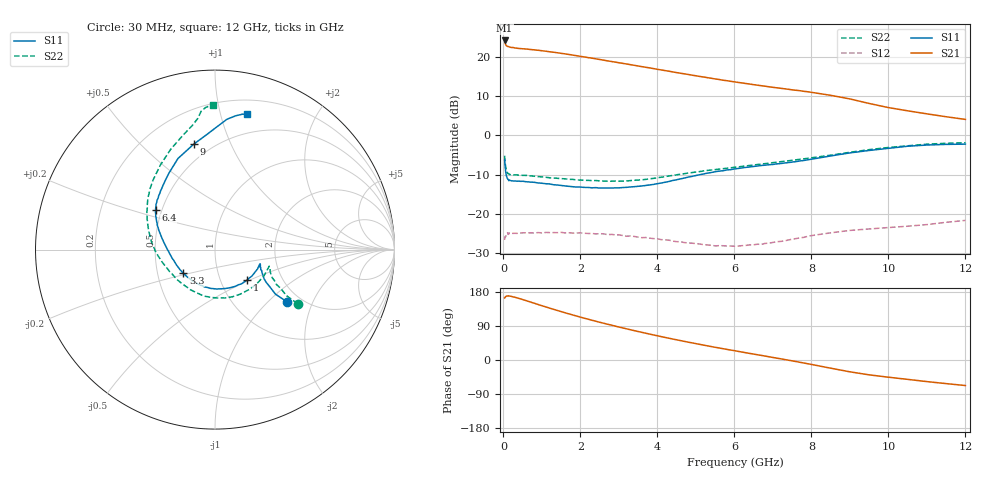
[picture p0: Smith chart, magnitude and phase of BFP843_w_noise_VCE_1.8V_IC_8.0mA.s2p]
! Infineon Technologies  Discrete & RF Semiconductors
! BFP843
! VCE =  1.8 V,  IC =  8.0 mA
! Common Emitter S-Parameters:  Aug 2013
# GHz  S  MA  R  50
!  f  S11  S21  S12  S22
! GHz  MAG  ANG  MAG  ANG  MAG  ANG  MAG  ANG
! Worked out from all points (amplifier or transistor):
!   103 points, 30 MHz to 12 GHz, reference 50 ohm
!   highest |S21| = 24.2 dB at 30 MHz (marker M1)
!   |S21| within 3 dB of that: start of sweep to 1.297 GHz
!   unconditionally stable (mu >= 1): 168.1 MHz to 10.92 GHz
!   at 400 MHz: K = 1.01, MAG = 22.8 dB, |S12| = -24.9 dB
!   at 3.7 GHz: K = 1.31, MAG = 18.4 dB, |S12| = -26.0 dB
!   at 12 GHz: K = 0.83, MSG = 12.9 dB, |S12| = -21.7 dB
!   lowest NFmin = 0.91 dB at 450 MHz
!   S11 on the Smith chart (normalised r, x): 30 MHz: 1.70, -1.31; 1 GHz: 1.33, -0.48; 3.3 GHz: 0.68, -0.19; 6.4 GHz: 0.46, +0.24; 9 GHz: 0.40, +0.74; 12 GHz: 0.32, +1.21
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0.03  0.4939 -36.0  16.25 163.6  0.0467 31.6  0.551 -33.2
0.04  0.4183 -36.4  15.26 164.5  0.0515 23.4  0.4724 -32.8
0.05  0.3741 -34.4  14.71 166.8  0.051 22.6  0.4248 -30.5
0.07  0.3181 -30.7  14.03 168.1  0.0535 14.8  0.3731 -27.5
0.13  0.274 -21.6  13.57 169.3  0.056 6.5  0.3257 -19.7
0.3  0.263 -18.2  13.02 165.5  0.0566 4.7  0.3145 -18.2
0.6  0.2569 -27.9  12.62 156.3  0.0575 0.7  0.3097 -28.2
1  0.2459 -44.0  12.01 143.2  0.0572 -2.7  0.2961 -44.7
1.3  0.2352 -56.6  11.5 133.7  0.0578 -4.6  0.2871 -57.5
1.6  0.2274 -70.0  10.96 124.6  0.0572 -6.0  0.2801 -70.2
2.1  0.2177 -92.4  10.01 110.3  0.0567 -9.9  0.2679 -90.9
2.7  0.2134 -118.1  8.936 94.5  0.0544 -13.1  0.2614 -114.4
3.3  0.2204 -143.2  7.983 79.8  0.0524 -16.6  0.2659 -137.1
4.1  0.2477 -171.7  6.837 61.7  0.047 -18.3  0.2937 -162.6
5  0.3085 166.2  5.761 43.2  0.0419 -16.2  0.3418 177.7
6.1  0.3795 150.5  4.738 22.7  0.0389 -6.2  0.3973 160.1
6.4  0.3969 146.6  4.516 17.3  0.0403 -2.7  0.4149 155.8
7.7  0.473 126.0  3.718 -6.0  0.0495 5.5  0.4973 136.6
8.5  0.548 112.1  3.248 -21.6  0.0574 3.5  0.5607 122.9
9  0.5992 101.4  2.921 -31.2  0.0616 0.8  0.6105 113.9
10.5  0.729 84.8  2.061 -51.1  0.0697 -5.2  0.738 97.4
12  0.7751 76.8  1.601 -67.4  0.0826 -12.0  0.8075 90.9
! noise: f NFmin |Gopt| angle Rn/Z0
0.45  0.91  0.1  6  0.01
0.9  0.92  0.1  16  0.03
1.5  0.94  0.1  26  0.09
1.9  0.96  0.09  37  0.17
2.4  1  0.07  48  0.24
3.5  1.07  0.05  59  0.28
5.5  1.21  0.14  -134  0.33
10  1.87  0.5  -69  0.42
